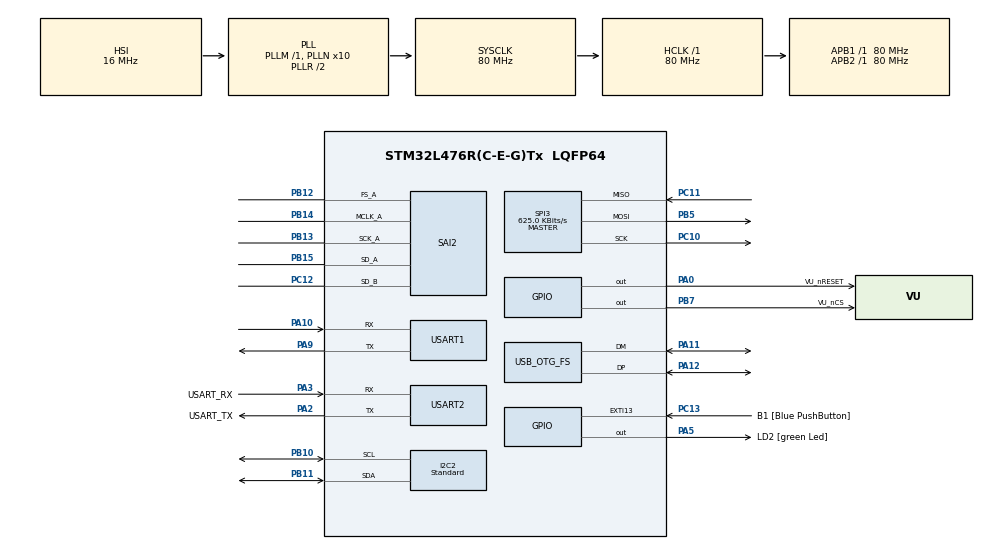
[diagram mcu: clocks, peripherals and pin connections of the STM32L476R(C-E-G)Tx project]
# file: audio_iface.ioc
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Dma.Request0=SAI2_A
Dma.Request1=SAI2_B
Dma.SAI2_A.0.Direction=DMA_MEMORY_TO_PERIPH
Dma.SAI2_A.0.Instance=DMA1_Channel6
Dma.SAI2_A.0.MemDataAlignment=DMA_MDATAALIGN_HALFWORD
Dma.SAI2_A.0.MemInc=DMA_MINC_ENABLE
Dma.SAI2_A.0.Mode=DMA_CIRCULAR
Dma.SAI2_A.0.PeriphDataAlignment=DMA_PDATAALIGN_HALFWORD
Dma.SAI2_A.0.PeriphInc=DMA_PINC_DISABLE
Dma.SAI2_A.0.Priority=DMA_PRIORITY_LOW
Dma.SAI2_B.1.Direction=DMA_PERIPH_TO_MEMORY
Dma.SAI2_B.1.Instance=DMA1_Channel7
Dma.SAI2_B.1.MemDataAlignment=DMA_MDATAALIGN_HALFWORD
Dma.SAI2_B.1.MemInc=DMA_MINC_ENABLE
Dma.SAI2_B.1.Mode=DMA_CIRCULAR
Dma.SAI2_B.1.PeriphDataAlignment=DMA_PDATAALIGN_HALFWORD
Dma.SAI2_B.1.PeriphInc=DMA_PINC_DISABLE
Dma.SAI2_B.1.Priority=DMA_PRIORITY_LOW
I2C2.I2C_Speed_Mode=I2C_Standard
I2C2.Timing=0x10909CEC
Mcu.Family=STM32L4
Mcu.Name=STM32L476R(C-E-G)Tx
Mcu.Package=LQFP64
NVIC.DMA1_Channel6_IRQn=true\:0\:0\:false\:false\:true\:false\:true\:true
NVIC.DMA1_Channel7_IRQn=true\:0\:0\:false\:false\:true\:false\:true\:true
NVIC.OTG_FS_IRQn=true\:0\:0\:false\:false\:true\:false\:true\:true
NVIC.PriorityGroup=NVIC_PRIORITYGROUP_4
NVIC.SAI2_IRQn=true\:0\:0\:false\:false\:true\:true\:true\:true
PA0.GPIO_Label=VU_nRESET
PA0.PinState=GPIO_PIN_SET
PA0.Signal=GPIO_Output
PA10.Mode=Asynchronous
PA10.Signal=USART1_RX
PA11.Mode=Device_Only
PA11.Signal=USB_OTG_FS_DM
PA12.Mode=Device_Only
PA12.Signal=USB_OTG_FS_DP
PA13\ (JTMS-SWDIO).GPIO_Label=TMS
PA13\ (JTMS-SWDIO).Mode=Serial_Wire
PA13\ (JTMS-SWDIO).Signal=SYS_JTMS-SWDIO
PA14\ (JTCK-SWCLK).GPIO_Label=TCK
PA14\ (JTCK-SWCLK).Mode=Serial_Wire
PA14\ (JTCK-SWCLK).Signal=SYS_JTCK-SWCLK
PA2.GPIO_Label=USART_TX
PA2.GPIO_Mode=GPIO_MODE_AF_PP
PA2.GPIO_PuPd=GPIO_NOPULL
PA2.GPIO_Speed=GPIO_SPEED_FREQ_VERY_HIGH
PA2.Mode=Asynchronous
PA2.Signal=USART2_TX
PA3.GPIO_Label=USART_RX
PA3.GPIO_Mode=GPIO_MODE_AF_PP
PA3.GPIO_PuPd=GPIO_NOPULL
PA3.GPIO_Speed=GPIO_SPEED_FREQ_VERY_HIGH
PA3.Mode=Asynchronous
PA3.Signal=USART2_RX
PA5.GPIO_Label=LD2 [green Led]
PA5.GPIO_ModeDefaultOutputPP=GPIO_MODE_OUTPUT_PP
PA5.GPIO_PuPd=GPIO_NOPULL
PA5.GPIO_Speed=GPIO_SPEED_FREQ_LOW
PA5.Signal=GPIO_Output
PA9.Mode=Asynchronous
PA9.Signal=USART1_TX
PB10.Mode=I2C
PB10.Signal=I2C2_SCL
PB11.Mode=I2C
PB11.Signal=I2C2_SDA
PB12.Mode=SAI_A_MasterWithClock
PB12.Signal=SAI2_FS_A
PB13.Mode=SAI_A_MasterWithClock
PB13.Signal=SAI2_SCK_A
PB14.Mode=SAI_A_MasterWithClock
PB14.Signal=SAI2_MCLK_A
PB15.Mode=SAI_A_MasterWithClock
PB15.Signal=SAI2_SD_A
PB3\ (JTDO-TRACESWO).GPIO_Label=SWO
PB3\ (JTDO-TRACESWO).Signal=SYS_JTDO-SWO
PB5.Mode=Full_Duplex_Master
PB5.Signal=SPI3_MOSI
PB7.GPIO_Label=VU_nCS
PB7.PinState=GPIO_PIN_SET
PB7.Signal=GPIO_Output
PC10.Mode=Full_Duplex_Master
PC10.Signal=SPI3_SCK
PC11.Mode=Full_Duplex_Master
PC11.Signal=SPI3_MISO
PC12.Mode=SAI_B_SyncSlave
PC12.Signal=SAI2_SD_B
PC13.GPIO_Label=B1 [Blue PushButton]
PC13.GPIO_ModeDefaultEXTI=GPIO_MODE_IT_FALLING
PC13.GPIO_PuPd=GPIO_NOPULL
PC13.Signal=GPXTI13
PC14-OSC32_IN\ (PC14).Mode=LSE-External-Oscillator
PC14-OSC32_IN\ (PC14).Signal=RCC_OSC32_IN
PC15-OSC32_OUT\ (PC15).Mode=LSE-External-Oscillator
PC15-OSC32_OUT\ (PC15).Signal=RCC_OSC32_OUT
PC4.Signal=USART3_TX
PC5.Signal=USART3_RX
PH0-OSC_IN\ (PH0).Signal=RCC_OSC_IN
PH1-OSC_OUT\ (PH1).Signal=RCC_OSC_OUT
ProjectManager.HeapSize=0x400
ProjectManager.StackSize=0x800
ProjectManager.TargetToolchain=STM32CubeIDE
RCC.ADCFreq_Value=104000000
RCC.AHBFreq_Value=80000000
RCC.APB1Freq_Value=80000000
RCC.APB1TimFreq_Value=80000000
RCC.APB2Freq_Value=80000000
RCC.APB2TimFreq_Value=80000000
RCC.CK48CLockSelection=RCC_USBCLKSOURCE_MSI
RCC.CortexFreq_Value=80000000
RCC.HCLKFreq_Value=80000000
RCC.HSE_VALUE=8000000
RCC.HSI_VALUE=16000000
RCC.MSIClockRange=RCC_MSIRANGE_11
RCC.MSI_VALUE=48000000
RCC.PLLN=10
RCC.PLLSAI1N=13
RCC.PLLSAI1P=RCC_PLLP_DIV17
RCC.PLLSAI2N=13
RCC.PLLSAI2P=RCC_PLLP_DIV17
RCC.PLLSourceVirtual=RCC_PLLSOURCE_HSI
RCC.PREFETCH_ENABLE=1
RCC.SYSCLKFreq_VALUE=80000000
RCC.SYSCLKSource=RCC_SYSCLKSOURCE_PLLCLK
RCC.USBFreq_Value=48000000
RCC.VCOOutputFreq_Value=160000000
SAI2.AudioFrequency-SAI_A_MasterWithClock=SAI_AUDIO_FREQUENCY_48K
SAI2.BasicDataSize-SAI_A_MasterWithClock=SAI_PROTOCOL_DATASIZE_16BIT
SAI2.ErrorAudioFreq-SAI_A_MasterWithClock=-0.42 %
SAI2.InitProtocol-SAI_A_MasterWithClock=Enable
SAI2.InitProtocol-SAI_B_SyncSlave=Enable
SAI2.Instance-SAI_A_MasterWithClock=SAI$Index_Block_A
SAI2.Instance-SAI_B_SyncSlave=SAI$Index_Block_B
SAI2.MClockEnable-SAI_A_MasterWithClock=SAI_MASTERCLOCK_ENABLE
SAI2.RealAudioFreq-SAI_A_MasterWithClock=47.794 KHz
SAI2.VirtualMode-SAI_A_MasterWithClock=VM_MASTER
SAI2.VirtualMode-SAI_B_SyncSlave=VM_SLAVE
SAI2.VirtualProtocol-SAI_A_BASIC=VM_BASIC_PROTOCOL
SAI2.VirtualProtocol-SAI_B_BASIC=VM_BASIC_PROTOCOL
SPI3.BaudRatePrescaler=SPI_BAUDRATEPRESCALER_128
SPI3.CalculateBaudRate=625.0 KBits/s
SPI3.DataSize=SPI_DATASIZE_8BIT
SPI3.Direction=SPI_DIRECTION_2LINES
SPI3.Mode=SPI_MODE_MASTER
SPI3.VirtualType=VM_MASTER
USART1.VirtualMode-Asynchronous=VM_ASYNC
USART2.VirtualMode-Asynchronous=VM_ASYNC
USB_DEVICE.CLASS_NAME_FS=AUDIO
USB_DEVICE.USBD_AUDIO_FREQ=48000
USB_DEVICE.USBD_MAX_NUM_INTERFACES=1
USB_DEVICE.VirtualMode=Audio
USB_DEVICE.VirtualModeFS=Audio_FS
USB_OTG_FS.VirtualMode=Device_Only
VP_SAI2_VP_$IpInstance_SAIA_SAI_BASIC.Mode=SAI_A_BASIC
VP_SAI2_VP_$IpInstance_SAIB_SAI_BASIC.Mode=SAI_B_BASIC
VP_USB_DEVICE_VS_USB_DEVICE_AUDIO_FS.Mode=AUDIO_FS
board=NUCLEO-L476RG

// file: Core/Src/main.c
/* USER CODE BEGIN Header */
/**
 ******************************************************************************
 * @file           : main.c
 * @brief          : Main program body
 ******************************************************************************
 * @attention
 *
 * Copyright (c) 2023 STMicroelectronics.
 * All rights reserved.
 *
 * This software is licensed under terms that can be found in the LICENSE file
 * in the root directory of this software component.
 * If no LICENSE file comes with this software, it is provided AS-IS.
 *
 ******************************************************************************
 */
/* USER CODE END Header */
#include "main.h"
#include "dma.h"
#include "i2c.h"
#include "sai.h"
#include "spi.h"
#include "usart.h"
#include "usb_device.h"
#include "gpio.h"

/* USER CODE BEGIN Includes */
#include <stdio.h>
#include "sgtl5000.h"

#include "vu_meter.h"
/* USER CODE END Includes */

/* USER CODE BEGIN PD */
#define SAI_TX_BUFFER_LENGTH (48*2)
#define SAI_RX_BUFFER_LENGTH (48*2)
/* USER CODE END PD */

/* USER CODE BEGIN PV */
h_vu_t h_vu;
static int16_t sai_tx_buffer[SAI_TX_BUFFER_LENGTH];
static int16_t sai_rx_buffer[SAI_RX_BUFFER_LENGTH];
/* USER CODE END PV */

void SystemClock_Config(void);
void PeriphCommonClock_Config(void);

/* USER CODE BEGIN 0 */
int _write(int file, char *ptr, int len)
{
	HAL_UART_Transmit(&huart2, (uint8_t*) ptr, len, HAL_MAX_DELAY);

	return len;
}

static int tx_cplt_counter = 0;
void HAL_SAI_TxCpltCallback(SAI_HandleTypeDef *hsai)
{
	if (SAI2_Block_A == hsai->Instance)
	{
		tx_cplt_counter++;
		// TODO Temp juste pour voir
		//HAL_SAI_DMAStop(&hsai_BlockA2);
	}
}

static int tx_half_cplt_counter = 0;
void HAL_SAI_TxHalfCpltCallback(SAI_HandleTypeDef *hsai)
{
	if (SAI2_Block_A == hsai->Instance)
	{
		tx_half_cplt_counter++;
	}
}

static int rx_cplt_flag = 0;
static int rx_cplt_counter = 0;
void HAL_SAI_RxCpltCallback(SAI_HandleTypeDef *hsai)
{
	if (SAI2_Block_B == hsai->Instance)
	{
		rx_cplt_flag = 1;

		for (int i = SAI_RX_BUFFER_LENGTH / 2 ; i < SAI_RX_BUFFER_LENGTH ; i++)
		{
			sai_tx_buffer[i] = sai_rx_buffer[i];
		}

		// TODO Temp juste pour voir
		//HAL_SAI_DMAStop(&hsai_BlockB2);

		rx_cplt_counter++;
	}
}

static int rx_half_cplt_flag = 0;
static int rx_half_cplt_counter = 0;
void HAL_SAI_RxHalfCpltCallback(SAI_HandleTypeDef *hsai)
{
	if (SAI2_Block_B == hsai->Instance)
	{
		rx_half_cplt_flag = 1;

		for (int i = 0 ; i < SAI_RX_BUFFER_LENGTH / 2 ; i++)
		{
			sai_tx_buffer[i] = sai_rx_buffer[i];
		}

		rx_half_cplt_counter++;
	}
}
/* USER CODE END 0 */

int main(void)
{

	/* MCU Configuration--------------------------------------------------------*/

	/* Reset of all peripherals, Initializes the Flash interface and the Systick. */
	HAL_Init();

	/* Configure the system clock */
	SystemClock_Config();

	/* Configure the peripherals common clocks */
	PeriphCommonClock_Config();

	/* Initialize all configured peripherals */
	MX_GPIO_Init();
	MX_DMA_Init();
	MX_USART2_UART_Init();
	MX_I2C2_Init();
	MX_SAI2_Init();
	MX_SPI3_Init();
	MX_USART1_UART_Init();
	MX_USB_DEVICE_Init();

	/* Infinite loop */
	/* USER CODE BEGIN WHILE */
	vu_init(&h_vu, &hspi3);
	vu_blink(&h_vu);

	printf("\r\n===== 1DA AUDIO IFACE =====\r\n");

	/**
	 * Configure SYS_FS clock to 48 kHz
	 * Configure MCLK_FREQ to 256*Fs = 12288kHz
	 * PLLSAI1P = 12235.294kHz
	 * FS = PLLSAI1P / 256 = 47.79MHz
	 */

	// Starts MCLK but not the LR clock and other signals
	__HAL_SAI_ENABLE(&hsai_BlockA2);

	/**
	 * For the 32 QFN version of the SGTL5000, the I2C device
	 * address is 0n01010(R/W) where n is determined by
	 * CTRL_ADR0_CS and R/W is the read/write bit from the I2C
	 * protocol.
	 *
	 * CTRL_ADR0_CS is tied to GND
	 * Address is 0001010(R/W)
	 * => 00010100 = 0x14 for Write
	 * => 00010101 = 0x15 for Read
	 * Est-ce que le R/W est ajouté dans la HAL ? Dans ce cas :
	 * => 0001010 = 0x0A -> Eh non!
	 * Cela dit, il rajoute le 1 pour la lecture
	 */

	uint16_t sgtl_address = 0x14;
	uint16_t data;

	h_sgtl5000_t h_sgtl5000;
	h_sgtl5000.hi2c = &hi2c2;
	h_sgtl5000.dev_address = sgtl_address;

	sgtl5000_init(&h_sgtl5000);

	HAL_StatusTypeDef ret;
	ret = sgtl5000_i2c_read_register(&h_sgtl5000, SGTL5000_CHIP_ID, &data);

	if (ret != HAL_OK)
	{
		printf("HAL_I2C_Mem_Read error\r\n");
		Error_Handler();
	}

	for (int i = 0 ; i < SAI_TX_BUFFER_LENGTH ; i++)
	{
		// Generate a sawtooth at 1kHz
		sai_tx_buffer[i] = i * (0xFFFF/SAI_TX_BUFFER_LENGTH);
	}

	printf("Starting SAI...\r\n");
	// Last parameter is the number of DMA CYCLES (here a cycle is 16 bits/2Bytes)
	HAL_SAI_Receive_DMA(&hsai_BlockB2, (uint8_t*) sai_rx_buffer, SAI_RX_BUFFER_LENGTH);
	HAL_SAI_Transmit_DMA(&hsai_BlockA2, (uint8_t*) sai_tx_buffer, SAI_TX_BUFFER_LENGTH);

	/*
	 * Channels are interleaved in the buffer
	 * Bit LR indicate Left/Right Channel
	 * LSB of right channel is presented when LR indicate Left
	 * Same goes for left channel
	 * (SGTL DIN is shifted by 1 bit on the right on the oscilloscope, it's normal for an SAI apparently)
	 */

	int ave_counter = 0;
	int ave = 0;
	int ave_max = 100;

	while (1)
	{
		if (rx_cplt_flag)
		{
			rx_cplt_flag = 0;

			ave += sai_rx_buffer[0];
			ave_counter++;

			if (ave_counter == ave_max)
			{

				ave /= ave_max;
				if (ave < 0) ave = -ave;

				vu_percent(&h_vu, VU_PORTA, ave/5);
				vu_percent(&h_vu, VU_PORTB, ave/5);

				ave = 0;
				ave_counter = 0;
			}
		}
		/* USER CODE END WHILE */

	}
}

void SystemClock_Config(void)
{
	RCC_OscInitTypeDef RCC_OscInitStruct = {0};
	RCC_ClkInitTypeDef RCC_ClkInitStruct = {0};

	/** Configure the main internal regulator output voltage
	 */
	if (HAL_PWREx_ControlVoltageScaling(PWR_REGULATOR_VOLTAGE_SCALE1) != HAL_OK)
	{
		Error_Handler();
	}

	/** Configure LSE Drive Capability
	 */
	HAL_PWR_EnableBkUpAccess();
	__HAL_RCC_LSEDRIVE_CONFIG(RCC_LSEDRIVE_LOW);

	/** Initializes the RCC Oscillators according to the specified parameters
	 * in the RCC_OscInitTypeDef structure.
	 */
	RCC_OscInitStruct.OscillatorType = RCC_OSCILLATORTYPE_HSI|RCC_OSCILLATORTYPE_LSE
			|RCC_OSCILLATORTYPE_MSI;
	RCC_OscInitStruct.LSEState = RCC_LSE_ON;
	RCC_OscInitStruct.HSIState = RCC_HSI_ON;
	RCC_OscInitStruct.HSICalibrationValue = RCC_HSICALIBRATION_DEFAULT;
	RCC_OscInitStruct.MSIState = RCC_MSI_ON;
	RCC_OscInitStruct.MSICalibrationValue = 0;
	RCC_OscInitStruct.MSIClockRange = RCC_MSIRANGE_11;
	RCC_OscInitStruct.PLL.PLLState = RCC_PLL_ON;
	RCC_OscInitStruct.PLL.PLLSource = RCC_PLLSOURCE_HSI;
	RCC_OscInitStruct.PLL.PLLM = 1;
	RCC_OscInitStruct.PLL.PLLN = 10;
	RCC_OscInitStruct.PLL.PLLP = RCC_PLLP_DIV7;
	RCC_OscInitStruct.PLL.PLLQ = RCC_PLLQ_DIV2;
	RCC_OscInitStruct.PLL.PLLR = RCC_PLLR_DIV2;
	if (HAL_RCC_OscConfig(&RCC_OscInitStruct) != HAL_OK)
	{
		Error_Handler();
	}

	/** Initializes the CPU, AHB and APB buses clocks
	 */
	RCC_ClkInitStruct.ClockType = RCC_CLOCKTYPE_HCLK|RCC_CLOCKTYPE_SYSCLK
			|RCC_CLOCKTYPE_PCLK1|RCC_CLOCKTYPE_PCLK2;
	RCC_ClkInitStruct.SYSCLKSource = RCC_SYSCLKSOURCE_PLLCLK;
	RCC_ClkInitStruct.AHBCLKDivider = RCC_SYSCLK_DIV1;
	RCC_ClkInitStruct.APB1CLKDivider = RCC_HCLK_DIV1;
	RCC_ClkInitStruct.APB2CLKDivider = RCC_HCLK_DIV1;

	if (HAL_RCC_ClockConfig(&RCC_ClkInitStruct, FLASH_LATENCY_4) != HAL_OK)
	{
		Error_Handler();
	}

	/** Enable MSI Auto calibration
	 */
	HAL_RCCEx_EnableMSIPLLMode();
}

void PeriphCommonClock_Config(void)
{
	RCC_PeriphCLKInitTypeDef PeriphClkInit = {0};

	/** Initializes the peripherals clock
	 */
	PeriphClkInit.PeriphClockSelection = RCC_PERIPHCLK_SAI2;
	PeriphClkInit.Sai2ClockSelection = RCC_SAI2CLKSOURCE_PLLSAI1;
	PeriphClkInit.PLLSAI1.PLLSAI1Source = RCC_PLLSOURCE_HSI;
	PeriphClkInit.PLLSAI1.PLLSAI1M = 1;
	PeriphClkInit.PLLSAI1.PLLSAI1N = 13;
	PeriphClkInit.PLLSAI1.PLLSAI1P = RCC_PLLP_DIV17;
	PeriphClkInit.PLLSAI1.PLLSAI1Q = RCC_PLLQ_DIV2;
	PeriphClkInit.PLLSAI1.PLLSAI1R = RCC_PLLR_DIV2;
	PeriphClkInit.PLLSAI1.PLLSAI1ClockOut = RCC_PLLSAI1_SAI1CLK;
	if (HAL_RCCEx_PeriphCLKConfig(&PeriphClkInit) != HAL_OK)
	{
		Error_Handler();
	}
}

void Error_Handler(void)
{
	/* USER CODE BEGIN Error_Handler_Debug */
	/* User can add his own implementation to report the HAL error return state */
	__disable_irq();
	while (1)
	{
		vu_blink_red(&h_vu);
	}
	/* USER CODE END Error_Handler_Debug */
}
